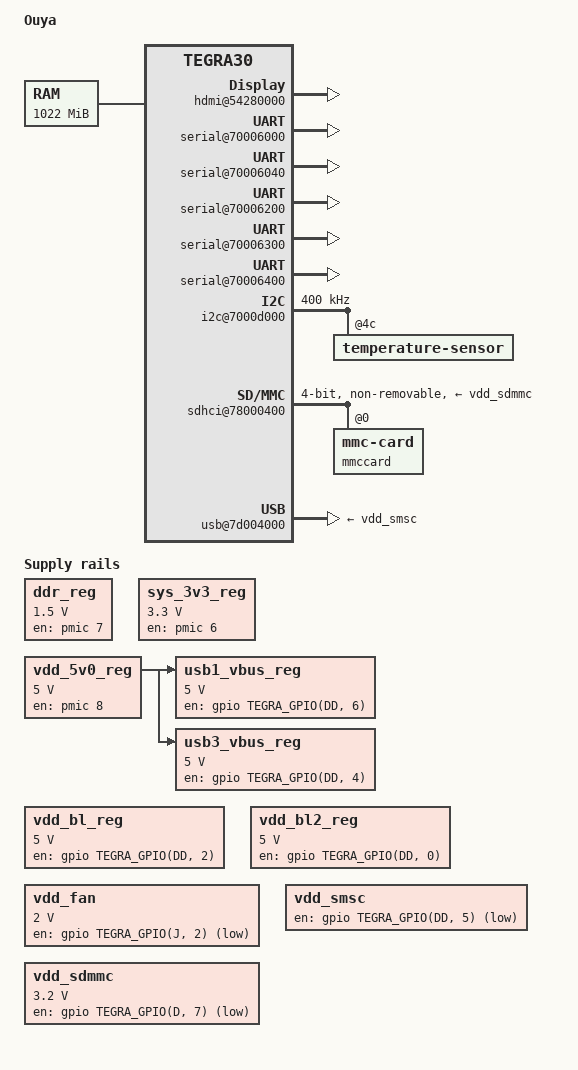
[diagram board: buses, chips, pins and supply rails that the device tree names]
/dts-v1/;

#include "tegra30-cardhu.dtsi"
#include "tegra30-cardhu-ouya-memory.dtsi"

/ {
	model = "Ouya";
	compatible = "nvidia,ouya", "nvidia,cardhu", "nvidia,tegra30";

	/* Already disabled */
	/delete-node/ usb@7d000000;
	/delete-node/ usb-phy@7d000000;

	/* Explicitly disabled */
	/delete-node/ pcie-controller@00003000;
	/delete-node/ i2c@7000c000; /* panelddc */
	/delete-node/ panel;
	/delete-node/ backlight;
	/delete-node/ isl29029@44;

	/* FIXME: broken */

	aliases {
		serial0 = &uartd;
	};

	cpus {
		#address-cells = <1>;
		#size-cells = <0>;

		cpu@0 {
			device_type = "cpu";
			compatible = "arm,cortex-a9";
			reg = <0>;
			next-level-cache = <&L2>;
			operating-points = <
			/* kHz    uV */
/*			1700000  1350000 */
			1000000  1200000
/*			910000  1200000
			550000  950000
*/			>;
			clock-latency = <600000>; /* two CLK32 periods */
			#cooling-cells = <2>;
			cooling-min-level = <0>;
			cooling-max-level = <2>;
			clocks = <&tegra_car TEGRA30_CLK_CCLK_G>,
				 <&tegra_car TEGRA30_CLK_CCLK_LP>,
				 <&tegra_car TEGRA30_CLK_PLL_X>,
				 <&tegra_car TEGRA30_CLK_PLL_P>;
			clock-names = "cpu_g", "cpu_lp", "pll_x", "pll_p";

		};
		cpu@1 {
			next-level-cache = <&L2>;
		};

		cpu@2 {
			next-level-cache = <&L2>;
		};

		cpu@3 {
			next-level-cache = <&L2>;
		};
	};

	L2: cache-controller@50043000 {
	};

	smmu {
		compatible = "nvidia,tegra30-smmu";
		reg = <0x7000f010 0x02c
		       0x7000f1f0 0x010
		       0x7000f228 0x05c>;
		nvidia,#asids = <4>;		/* # of ASIDs */
		dma-window = <0 0x40000000>;	/* IOVA start & length */
		nvidia,ahb = <&ahb>;
	};

	memory {
		reg = <0x80000000 0x3fe00000>;
	};

	firmware {
		trusted-foundations {
			compatible = "tlm,trusted-foundations";
			tlm,version-major = <0x2>;
			tlm,version-minor = <0x8>;
		};
	};

	host1x@50000000 {
		dc@54200000 {
			rgb {
				status = "disabled";
				/delete-property/ nvidia,panel;
			};
		};

		hdmi@54280000 {
			status = "okay";
			nvidia,hpd-gpio = <&gpio TEGRA_GPIO(N, 7) GPIO_ACTIVE_HIGH>;
		};
	};

	gpio: gpio@6000d000 {
		gpio-ranges = <&pinmux 0 0 248>;
		#reset-cells = <1>;
	};

	serial@70006000 {
		compatible = "nvidia,tegra30-hsuart";
		status = "okay";
	};

	serial@70006040 {
		compatible = "nvidia,tegra30-hsuart";
		status = "okay";
	};

	serial@70006200 {
		compatible = "nvidia,tegra30-hsuart";
		status = "okay";
	};

	serial@70006300 {
		compatible = "nvidia,tegra30-hsuart";
		status = "okay";
	};

	serial@70006400 {
		compatible = "nvidia,tegra30-hsuart";
		status = "okay";
	};

	i2c@7000d000 {
		multi-master;
		clock-frequency = <400000>;
		temperature-sensor@4c {
			update-interval = <500>;
			local-low = <5000>;
			local-high = <80000>;
			local-critical = <90000>;
			remote-low = <5000>;
			remote-high = <80000>;
			remote-critical = <90000>;
			remote-offset = <(-62125)>;
		};
		wm8903: wm8903@1a {
			status = "disabled" ;
		};
		
	};

	pmc@7000e400 {
		nvidia,suspend-mode = <0>;
		nvidia,lp0-vec = <0xbddf9000 8192>;
	};

	sdhci@78000000 {
		status = "disabled";
	};

	sdhci@78000200 {
		status = "disabled";
	};

	sdhci@78000400 {
		status = "okay";
		non-removable;
		max-frequency = <12000000>;
		power-gpios = <&gpio TEGRA_GPIO(D, 3) GPIO_ACTIVE_HIGH>;
		bus-width = <4>;
		vmmc-supply = <&vdd_sdmmc>;
	
		mmccard: mmccard@0 {
			reg = <0>;
			compatible = "mmc-card";
			broken-hpi;
		};
	};

	sdhci@78000600 {
		status = "disabled";
		non-removable;
		keep-power-in-suspend;
		max-frequency = <41000000>;
		vmmc-supply = <&vdd_sdmmc>;
	};

	usb@7d004000 {
		status = "okay";
		vbus-supply = <&vdd_smsc>;
	};

	usb-phy@7d004000 {
		nvidia,hssync-start-delay = <0>;
		nvidia,xcvr-setup = <15>;
		nvidia,xcvr-hsslew = <8>;
		nvidia,hsdiscon-level = <1>;
		status = "okay";
	};

	usb-phy@7d008000 {
		nvidia,xcvr-setup = <8>;
		nvidia,xcvr-hsslew = <8>;
		nvidia,hsdiscon-level = <1>;
	};

	regulators {
		compatible = "simple-bus";
		#address-cells = <1>;
		#size-cells = <0>;

		ddr_reg: regulator@100 {
			compatible = "regulator-fixed";
			reg = <100>;
			regulator-name = "vdd_ddr";
			regulator-min-microvolt = <1500000>;
			regulator-max-microvolt = <1500000>;
			regulator-always-on;
			regulator-boot-on;
			enable-active-high;
			gpio = <&pmic 7 GPIO_ACTIVE_HIGH>;
		};

		sys_3v3_reg: regulator@101 {
			compatible = "regulator-fixed";
			reg = <101>;
			regulator-name = "sys_3v3";
			regulator-min-microvolt = <3300000>;
			regulator-max-microvolt = <3300000>;
			regulator-always-on;
			regulator-boot-on;
			enable-active-high;
			gpio = <&pmic 6 GPIO_ACTIVE_HIGH>;
		};

		usb1_vbus_reg: regulator@102 {
			compatible = "regulator-fixed";
			reg = <102>;
			regulator-name = "usb1_vbus";
			regulator-min-microvolt = <5000000>;
			regulator-max-microvolt = <5000000>;
			enable-active-high;
			gpio = <&gpio TEGRA_GPIO(DD, 6) GPIO_ACTIVE_HIGH>;
			gpio-open-drain;
			vin-supply = <&vdd_5v0_reg>;
		};

		usb3_vbus_reg: regulator@103 {
			compatible = "regulator-fixed";
			reg = <103>;
			regulator-name = "usb3_vbus";
			regulator-min-microvolt = <5000000>;
			regulator-max-microvolt = <5000000>;
			enable-active-high;
			gpio = <&gpio TEGRA_GPIO(DD, 4) GPIO_ACTIVE_HIGH>;
			gpio-open-drain;
			vin-supply = <&vdd_5v0_reg>;
		};

		vdd_5v0_reg: regulator@104 {
			compatible = "regulator-fixed";
			reg = <104>;
			regulator-name = "5v0";
			regulator-min-microvolt = <5000000>;
			regulator-max-microvolt = <5000000>;
			enable-active-high;
			gpio = <&pmic 8 GPIO_ACTIVE_HIGH>;
		};

		vdd_bl_reg: regulator@105 {
			compatible = "regulator-fixed";
			reg = <105>;
			regulator-name = "vdd_bl";
			regulator-min-microvolt = <5000000>;
			regulator-max-microvolt = <5000000>;
			regulator-always-on;
			regulator-boot-on;
			enable-active-high;
			gpio = <&gpio TEGRA_GPIO(DD, 2) GPIO_ACTIVE_HIGH>;
		};

		vdd_bl2_reg: regulator@106 {
			compatible = "regulator-fixed";
			reg = <106>;
			regulator-name = "vdd_bl2";
			regulator-min-microvolt = <5000000>;
			regulator-max-microvolt = <5000000>;
			regulator-always-on;
			regulator-boot-on;
			enable-active-high;
			gpio = <&gpio TEGRA_GPIO(DD, 0) GPIO_ACTIVE_HIGH>;
		};

		vdd_fan: regulator@9 {
			compatible = "regulator-fixed";
			reg = <9>;
			regulator-name = "+VDD_5V_FAN";
			regulator-min-microvolt = <2000000>;
			regulator-max-microvolt = <2000000>;
			regulator-always-on;
			regulator-boot-on;
			gpio = <&gpio TEGRA_GPIO(J, 2) GPIO_ACTIVE_HIGH>;
		};
		
		vdd_smsc: regulator@8 {
			compatible = "regulator-fixed";
			reg = <8>;
			regulator-name = "vdd_smsc";
			regulator-always-on;
			regulator-boot-on;
			gpio = <&gpio TEGRA_GPIO(DD, 5) GPIO_ACTIVE_HIGH>;
		};

		vdd_sdmmc: regulator@11 {
			compatible = "regulator-fixed";
			reg = <11>;
			regulator-name = "vdd_sdmmc";
			regulator-min-microvolt = <3200000>;
			regulator-max-microvolt = <3200000>;
			regulator-always-on;
			regulator-boot-on;
			gpio = <&gpio TEGRA_GPIO(D, 7) GPIO_ACTIVE_HIGH>;
		};

	};

	gpio-keys {
		power {
			/delete-property/ interrupt-parent;
			/delete-property/ interrupts;
			gpios = <&gpio TEGRA_GPIO(V, 0) GPIO_ACTIVE_LOW>;
			debounce-interval = <10>;
		};

		/delete-node/ volume-down;
		/delete-node/ volume-up;
	};
};
